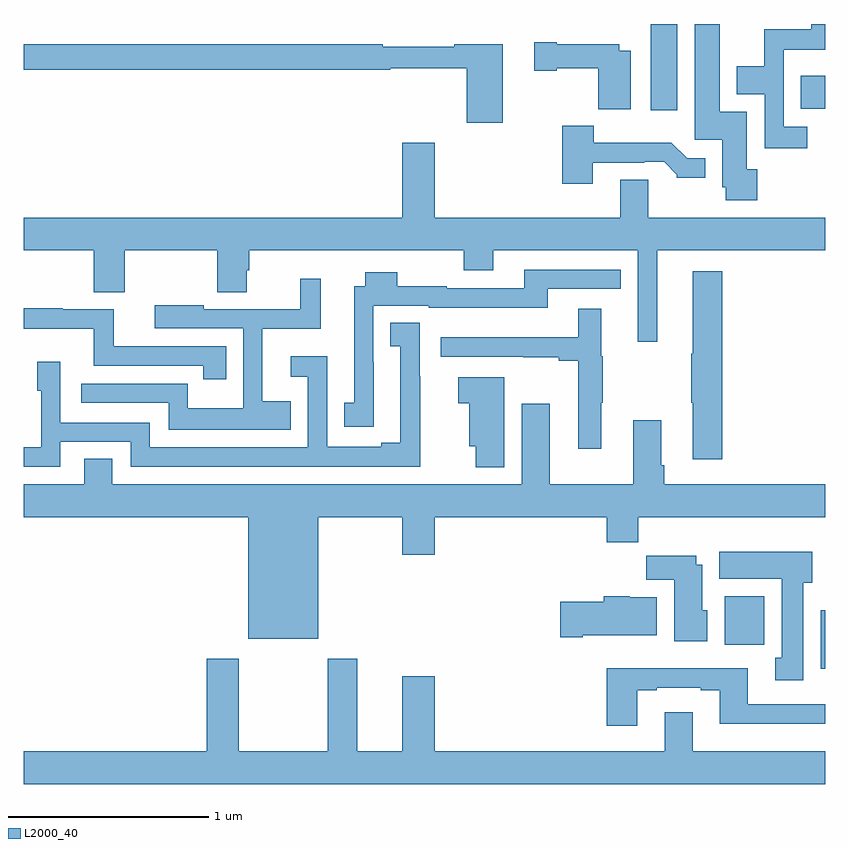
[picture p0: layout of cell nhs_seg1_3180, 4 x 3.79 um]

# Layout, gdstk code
import gdstk
lib = gdstk.Library(unit=1e-6, precision=1e-09)
def R(c, l, rs):  # rectangles x0, y0, x1, y1
    for r in rs: c.add(gdstk.rectangle(r[:2], r[2:], *l))
def P(c, l, *ps):  # polygons
    for p in ps: c.add(gdstk.Polygon(p, *l))
L2000_40 = (2000, 40)

nhs_seg1_3180 = lib.new_cell('nhs_seg1_3180')
R(nhs_seg1_3180, L2000_40, [(286.979,546.98,287,547.272), (286.499,547.1,286.696,547.342), (286.13,549.768,286.261,550.199), (286.879,549.776,287,549.94)])
P(nhs_seg1_3180, L2000_40, [(286.912,549.687),(286.794,549.687),(286.794,550.07),(287,550.07),(287,550.199),(286.931,550.199),(286.931,550.174),(286.696,550.174),(286.696,549.988),(286.559,549.988),(286.559,549.848),(286.698,549.848),(286.698,549.579),(286.912,549.579)],
  [(286.661,549.474),(286.609,549.474),(286.609,549.76),(286.474,549.76),(286.474,550.199),(286.349,550.199),(286.349,549.621),(286.487,549.621),(286.487,549.384),(286.504,549.384),(286.504,549.318),(286.661,549.318)],
  [(286.03,550.066),(285.972,550.066),(285.972,550.099),(285.661,550.099),(285.661,550.107),(285.549,550.107),(285.549,549.965),(285.661,549.965),(285.661,549.977),(285.868,549.977),(285.868,549.773),(286.03,549.773)],
  [(285.39,550.099),(285.148,550.099),(285.148,550.086),(284.792,550.086),(284.792,550.099),(283,550.099),(283,549.97),(284.828,549.97),(284.828,549.978),(285.212,549.978),(285.212,549.705),(285.39,549.705)],
  [(285.841,549.507),(286.097,549.507),(286.097,549.51),(286.196,549.51),(286.26,549.446),(286.26,549.431),(286.402,549.431),(286.402,549.528),(286.311,549.528),(286.233,549.607),(285.844,549.607),(285.844,549.691),(285.689,549.691),(285.689,549.402),(285.841,549.402)],
  [(285.052,549.607),(284.888,549.607),(284.888,549.232),(283,549.232),(283,549.068),(283.348,549.068),(283.348,548.86),(283.503,548.86),(283.503,549.068),(283.966,549.068),(283.966,548.86),(284.113,548.86),(284.113,548.97),(284.126,548.97),(284.126,549.068),(285.196,549.068),(285.196,548.969),(285.343,548.969),(285.343,549.068),(286.065,549.068),(286.065,548.613),(286.162,548.613),(286.162,549.068),(287,549.068),(287,549.232),(286.117,549.232),(286.117,549.422),(285.977,549.422),(285.977,549.232),(285.052,549.232)],
  [(284.746,548.51),(284.745,548.51),(284.745,548.793),(285.021,548.793),(285.021,548.783),(285.616,548.783),(285.616,548.877),(285.98,548.877),(285.98,548.973),(285.497,548.973),(285.497,548.88),(285.111,548.88),(285.111,548.89),(284.865,548.89),(284.865,548.959),(284.705,548.959),(284.705,548.889),(284.648,548.889),(284.648,548.307),(284.599,548.307),(284.599,548.187),(284.746,548.187)],
  [(286.487,548.965),(286.34,548.965),(286.34,548.552),(286.333,548.552),(286.333,548.308),(286.34,548.308),(286.34,548.025),(286.487,548.025)],
  [(284.333,548.314),(284.191,548.314),(284.191,548.678),(284.482,548.678),(284.482,548.926),(284.38,548.926),(284.38,548.775),(283.897,548.775),(283.897,548.794),(283.653,548.794),(283.653,548.679),(284.094,548.679),(284.094,548.281),(283.818,548.281),(283.818,548.402),(283.715,548.402),(283.715,548.403),(283.287,548.403),(283.287,548.307),(283.722,548.307),(283.722,548.174),(284.333,548.174)],
  [(284.009,548.589),(283.448,548.589),(283.448,548.775),(283.194,548.775),(283.194,548.78),(283,548.78),(283,548.678),(283.349,548.678),(283.349,548.493),(283.896,548.493),(283.896,548.424),(284.009,548.424)],
  [(285.883,548.308),(285.891,548.308),(285.891,548.541),(285.883,548.541),(285.883,548.776),(285.767,548.776),(285.767,548.635),(285.081,548.635),(285.081,548.538),(285.493,548.538),(285.493,548.536),(285.671,548.536),(285.671,548.518),(285.767,548.518),(285.767,548.079),(285.883,548.079)],
  [(284.979,548.441),(284.976,548.441),(284.976,548.708),(284.83,548.708),(284.83,548.59),(284.879,548.59),(284.879,548.107),(284.783,548.107),(284.783,548.089),(284.514,548.089),(284.514,548.539),(284.331,548.539),(284.331,548.438),(284.418,548.438),(284.418,548.085),(283.629,548.085),(283.629,548.208),(283.182,548.208),(283.182,548.512),(283.067,548.512),(283.067,548.367),(283.086,548.367),(283.086,548.085),(283,548.085),(283,547.989),(283.182,547.989),(283.182,548.112),(283.533,548.112),(283.533,547.989),(284.521,547.989),(284.521,547.988),(284.979,547.988)],
  [(285.397,548.434),(285.168,548.434),(285.168,548.305),(285.224,548.305),(285.224,548.09),(285.257,548.09),(285.257,547.985),(285.397,547.985)],
  [(284.47,547.736),(284.888,547.736),(284.888,547.548),(285.052,547.548),(285.052,547.736),(285.911,547.736),(285.911,547.612),(286.067,547.612),(286.067,547.736),(287,547.736),(287,547.9),(286.196,547.9),(286.196,547.996),(286.183,547.996),(286.183,548.221),(286.043,548.221),(286.043,547.9),(285.625,547.9),(285.625,548.302),(285.485,548.302),(285.485,547.9),(283.441,547.9),(283.441,548.027),(283.301,548.027),(283.301,547.9),(283,547.9),(283,547.736),(284.12,547.736),(284.12,547.13),(284.47,547.13)],
  [(286.891,547.41),(286.936,547.41),(286.936,547.564),(286.472,547.564),(286.472,547.43),(286.784,547.43),(286.784,547.034),(286.751,547.034),(286.751,546.921),(286.891,546.921)],
  [(286.411,547.272),(286.387,547.272),(286.387,547.498),(286.357,547.498),(286.357,547.543),(286.108,547.543),(286.108,547.424),(286.247,547.424),(286.247,547.118),(286.411,547.118)],
  [(285.79,547.148),(286.159,547.148),(286.159,547.336),(286.026,547.336),(286.026,547.342),(285.896,547.342),(285.896,547.314),(285.678,547.314),(285.678,547.136),(285.79,547.136)],
  [(287,546.568),(286.339,546.568),(286.339,546.763),(286.199,546.763),(286.199,546.568),(285.052,546.568),(285.052,546.943),(284.888,546.943),(284.888,546.568),(284.665,546.568),(284.665,547.03),(284.518,547.03),(284.518,546.568),(284.073,546.568),(284.073,547.03),(283.913,547.03),(283.913,546.568),(283,546.568),(283,546.404),(287,546.404)],
  [(286.063,546.873),(286.159,546.873),(286.159,546.885),(286.379,546.885),(286.379,546.873),(286.475,546.873),(286.475,546.704),(287,546.704),(287,546.801),(286.615,546.801),(286.615,546.982),(285.911,546.982),(285.911,546.696),(286.063,546.696)])

lib.write_gds('nhs_seg1_3180.gds')
